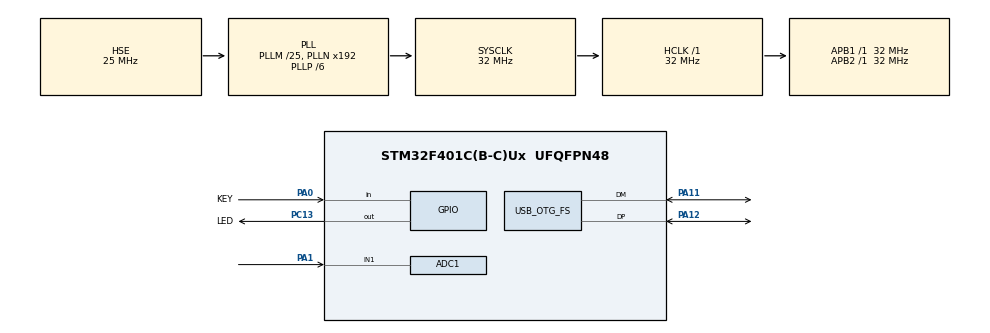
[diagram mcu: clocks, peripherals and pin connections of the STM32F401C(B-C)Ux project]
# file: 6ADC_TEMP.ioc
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ADC1.Channel-0\#ChannelRegularConversion=ADC_CHANNEL_1
ADC1.ContinuousConvMode=DISABLE
ADC1.NbrOfConversionFlag=1
ADC1.Rank-0\#ChannelRegularConversion=1
ADC1.SamplingTime-0\#ChannelRegularConversion=ADC_SAMPLETIME_3CYCLES
ADC1.master=1
Mcu.Family=STM32F4
Mcu.Name=STM32F401C(B-C)Ux
Mcu.Package=UFQFPN48
NVIC.OTG_FS_IRQn=true\:0\:0\:false\:false\:true\:false\:true
NVIC.PriorityGroup=NVIC_PRIORITYGROUP_4
PA0-WKUP.GPIO_Label=KEY
PA0-WKUP.GPIO_PuPd=GPIO_PULLUP
PA0-WKUP.Signal=GPIO_Input
PA1.Signal=ADCx_IN1
PA11.Mode=Device_Only
PA11.Signal=USB_OTG_FS_DM
PA12.Mode=Device_Only
PA12.Signal=USB_OTG_FS_DP
PA13.Mode=Serial_Wire
PA13.Signal=SYS_JTMS-SWDIO
PA14.Mode=Serial_Wire
PA14.Signal=SYS_JTCK-SWCLK
PC13-ANTI_TAMP.GPIO_Label=LED
PC13-ANTI_TAMP.PinState=GPIO_PIN_SET
PC13-ANTI_TAMP.Signal=GPIO_Output
PH0\ -\ OSC_IN.Mode=HSE-External-Oscillator
PH0\ -\ OSC_IN.Signal=RCC_OSC_IN
PH1\ -\ OSC_OUT.Mode=HSE-External-Oscillator
PH1\ -\ OSC_OUT.Signal=RCC_OSC_OUT
ProjectManager.HeapSize=0x200
ProjectManager.StackSize=0x400
ProjectManager.TargetToolchain=STM32CubeIDE
RCC.48MHZClocksFreq_Value=48000000
RCC.AHBFreq_Value=32000000
RCC.APB1Freq_Value=32000000
RCC.APB1TimFreq_Value=32000000
RCC.APB2Freq_Value=32000000
RCC.APB2TimFreq_Value=32000000
RCC.CortexFreq_Value=32000000
RCC.HCLKFreq_Value=32000000
RCC.HSE_VALUE=25000000
RCC.HSI_VALUE=16000000
RCC.LSE_VALUE=32768
RCC.PLLM=25
RCC.PLLP=RCC_PLLP_DIV6
RCC.SYSCLKFreq_VALUE=32000000
RCC.SYSCLKSource=RCC_SYSCLKSOURCE_PLLCLK
RCC.VCOOutputFreq_Value=192000000
SH.ADCx_IN1.0=ADC1_IN1,IN1
USB_DEVICE.CLASS_NAME_FS=CDC
USB_DEVICE.VirtualMode=Cdc
USB_DEVICE.VirtualModeFS=Cdc_FS
USB_OTG_FS.VirtualMode=Device_Only
VP_ADC1_TempSens_Input.Mode=IN-TempSens
VP_USB_DEVICE_VS_USB_DEVICE_CDC_FS.Mode=CDC_FS
board=custom

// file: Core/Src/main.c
/* USER CODE BEGIN Header */
/**
  ******************************************************************************
  * @file           : main.c
  * @brief          : Main program body
  ******************************************************************************
  * @attention
  *
  * Copyright (c) 2022 STMicroelectronics.
  * All rights reserved.
  *
  * This software is licensed under terms that can be found in the LICENSE file
  * in the root directory of this software component.
  * If no LICENSE file comes with this software, it is provided AS-IS.
  *
  ******************************************************************************
  */
/* USER CODE END Header */
#include "main.h"
#include "usb_device.h"

ADC_HandleTypeDef hadc1;

/* USER CODE BEGIN PV */
char MSG[20];
uint16_t rawValue;
float Temp;
uint8_t sFlag = RESET;
/* USER CODE END PV */

void SystemClock_Config(void);
static void MX_GPIO_Init(void);
static void MX_ADC1_Init(void);

/* USER CODE BEGIN 0 */
void HAL_IncTick(void) // HAL_getTick()
{
    uwTick += uwTickFreq;
    if((uwTick % 1000)==0) //1000mS tick
    {
        sFlag = SET;
    }
}

/* USER CODE END 0 */

int main(void)
{

  /* MCU Configuration--------------------------------------------------------*/

  /* Reset of all peripherals, Initializes the Flash interface and the Systick. */
  HAL_Init();

  /* Configure the system clock */
  SystemClock_Config();

  /* Initialize all configured peripherals */
  MX_GPIO_Init();
  MX_ADC1_Init();
  MX_USB_DEVICE_Init();
  /* USER CODE BEGIN 2 */
  HAL_ADC_Start(&hadc1);
  /* USER CODE END 2 */

  /* Infinite loop */
  /* USER CODE BEGIN WHILE */
  while (1)
  {
	  HAL_ADC_Start(&hadc1);
	  HAL_ADC_PollForConversion(&hadc1, HAL_MAX_DELAY);

    rawValue = HAL_ADC_GetValue(&hadc1);
    Temp = ((float)rawValue) / 4095.0 * 3300.0;
    Temp = ((Temp-760.0) / 2.5 ) + 25;
    sprintf(MSG, "Temp: %f\r\n", Temp);

    if(sFlag){
    	sFlag = RESET;
    	while(CDC_Transmit_FS((uint8_t*)MSG, strlen(MSG)) == USBD_OK) { }
    }

    /* USER CODE END WHILE */

    /* USER CODE BEGIN 3 */
    __NOP();
  }
  /* USER CODE END 3 */
}

void SystemClock_Config(void)
{
  RCC_OscInitTypeDef RCC_OscInitStruct = {0};
  RCC_ClkInitTypeDef RCC_ClkInitStruct = {0};

  /** Configure the main internal regulator output voltage
  */
  __HAL_RCC_PWR_CLK_ENABLE();
  __HAL_PWR_VOLTAGESCALING_CONFIG(PWR_REGULATOR_VOLTAGE_SCALE2);
  /** Initializes the RCC Oscillators according to the specified parameters
  * in the RCC_OscInitTypeDef structure.
  */
  RCC_OscInitStruct.OscillatorType = RCC_OSCILLATORTYPE_HSE;
  RCC_OscInitStruct.HSEState = RCC_HSE_ON;
  RCC_OscInitStruct.PLL.PLLState = RCC_PLL_ON;
  RCC_OscInitStruct.PLL.PLLSource = RCC_PLLSOURCE_HSE;
  RCC_OscInitStruct.PLL.PLLM = 25;
  RCC_OscInitStruct.PLL.PLLN = 192;
  RCC_OscInitStruct.PLL.PLLP = RCC_PLLP_DIV6;
  RCC_OscInitStruct.PLL.PLLQ = 4;
  if (HAL_RCC_OscConfig(&RCC_OscInitStruct) != HAL_OK)
  {
    Error_Handler();
  }
  /** Initializes the CPU, AHB and APB buses clocks
  */
  RCC_ClkInitStruct.ClockType = RCC_CLOCKTYPE_HCLK|RCC_CLOCKTYPE_SYSCLK
                              |RCC_CLOCKTYPE_PCLK1|RCC_CLOCKTYPE_PCLK2;
  RCC_ClkInitStruct.SYSCLKSource = RCC_SYSCLKSOURCE_PLLCLK;
  RCC_ClkInitStruct.AHBCLKDivider = RCC_SYSCLK_DIV1;
  RCC_ClkInitStruct.APB1CLKDivider = RCC_HCLK_DIV1;
  RCC_ClkInitStruct.APB2CLKDivider = RCC_HCLK_DIV1;

  if (HAL_RCC_ClockConfig(&RCC_ClkInitStruct, FLASH_LATENCY_1) != HAL_OK)
  {
    Error_Handler();
  }
}

static void MX_ADC1_Init(void)
{

  ADC_ChannelConfTypeDef sConfig = {0};

  /** Configure the global features of the ADC (Clock, Resolution, Data Alignment and number of conversion)
  */
  hadc1.Instance = ADC1;
  hadc1.Init.ClockPrescaler = ADC_CLOCK_SYNC_PCLK_DIV2;
  hadc1.Init.Resolution = ADC_RESOLUTION_12B;
  hadc1.Init.ScanConvMode = DISABLE;
  hadc1.Init.ContinuousConvMode = DISABLE;
  hadc1.Init.DiscontinuousConvMode = DISABLE;
  hadc1.Init.ExternalTrigConvEdge = ADC_EXTERNALTRIGCONVEDGE_NONE;
  hadc1.Init.ExternalTrigConv = ADC_SOFTWARE_START;
  hadc1.Init.DataAlign = ADC_DATAALIGN_RIGHT;
  hadc1.Init.NbrOfConversion = 1;
  hadc1.Init.DMAContinuousRequests = DISABLE;
  hadc1.Init.EOCSelection = ADC_EOC_SINGLE_CONV;
  if (HAL_ADC_Init(&hadc1) != HAL_OK)
  {
    Error_Handler();
  }
  /** Configure for the selected ADC regular channel its corresponding rank in the sequencer and its sample time.
  */
  sConfig.Channel = ADC_CHANNEL_1;
  sConfig.Rank = 1;
  sConfig.SamplingTime = ADC_SAMPLETIME_3CYCLES;
  if (HAL_ADC_ConfigChannel(&hadc1, &sConfig) != HAL_OK)
  {
    Error_Handler();
  }

}

static void MX_GPIO_Init(void)
{
  GPIO_InitTypeDef GPIO_InitStruct = {0};

  /* GPIO Ports Clock Enable */
  __HAL_RCC_GPIOC_CLK_ENABLE();
  __HAL_RCC_GPIOH_CLK_ENABLE();
  __HAL_RCC_GPIOA_CLK_ENABLE();

  /*Configure GPIO pin Output Level */
  HAL_GPIO_WritePin(LED_GPIO_Port, LED_Pin, GPIO_PIN_SET);

  /*Configure GPIO pin : LED_Pin */
  GPIO_InitStruct.Pin = LED_Pin;
  GPIO_InitStruct.Mode = GPIO_MODE_OUTPUT_PP;
  GPIO_InitStruct.Pull = GPIO_NOPULL;
  GPIO_InitStruct.Speed = GPIO_SPEED_FREQ_LOW;
  HAL_GPIO_Init(LED_GPIO_Port, &GPIO_InitStruct);

  /*Configure GPIO pin : KEY_Pin */
  GPIO_InitStruct.Pin = KEY_Pin;
  GPIO_InitStruct.Mode = GPIO_MODE_INPUT;
  GPIO_InitStruct.Pull = GPIO_PULLUP;
  HAL_GPIO_Init(KEY_GPIO_Port, &GPIO_InitStruct);

}

void Error_Handler(void)
{
  __disable_irq();
  while (1)
  {
  }
}
